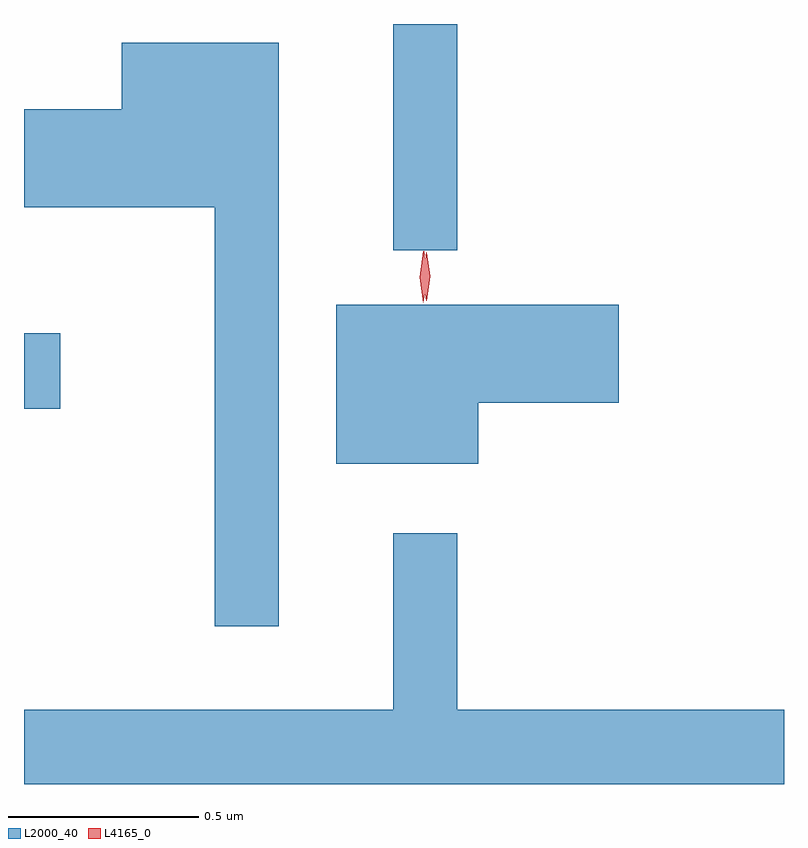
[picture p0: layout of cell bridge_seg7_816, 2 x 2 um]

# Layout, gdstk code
import gdstk
lib = gdstk.Library(unit=1e-6, precision=1e-09)
def R(c, l, rs):  # rectangles x0, y0, x1, y1
    for r in rs: c.add(gdstk.rectangle(r[:2], r[2:], *l))
def P(c, l, *ps):  # polygons
    for p in ps: c.add(gdstk.Polygon(p, *l))
L2000_40 = (2000, 40)
L4165_0 = (4165, 0)

bridge_seg7_816 = lib.new_cell('bridge_seg7_816')
R(bridge_seg7_816, L2000_40, [(282.379,1739.796,282.474,1739.994), (283.351,1740.213,283.519,1740.808)])
P(bridge_seg7_816, L2000_40, [(283.049,1740.759),(282.636,1740.759),(282.636,1740.584),(282.379,1740.584),(282.379,1740.326),(282.881,1740.326),(282.881,1739.223),(283.049,1739.223)],
  [(283.574,1739.811),(283.944,1739.811),(283.944,1740.069),(283.201,1740.069),(283.201,1739.651),(283.574,1739.651)],
  [(284.379,1739.004),(283.519,1739.004),(283.519,1739.468),(283.351,1739.468),(283.351,1739.004),(282.379,1739.004),(282.379,1738.808),(284.379,1738.808)])
P(bridge_seg7_816, L4165_0, [(283.429,1740.074),(283.42,1740.142),(283.43,1740.21),(283.431,1740.21),(283.432,1740.21),(283.44,1740.142),(283.43,1740.074),(283.43,1740.074)],
  [(283.438,1740.08),(283.438,1740.08),(283.428,1740.144),(283.438,1740.206),(283.438,1740.207),(283.439,1740.206),(283.448,1740.144),(283.439,1740.08)])

lib.write_gds('bridge_seg7_816.gds')
